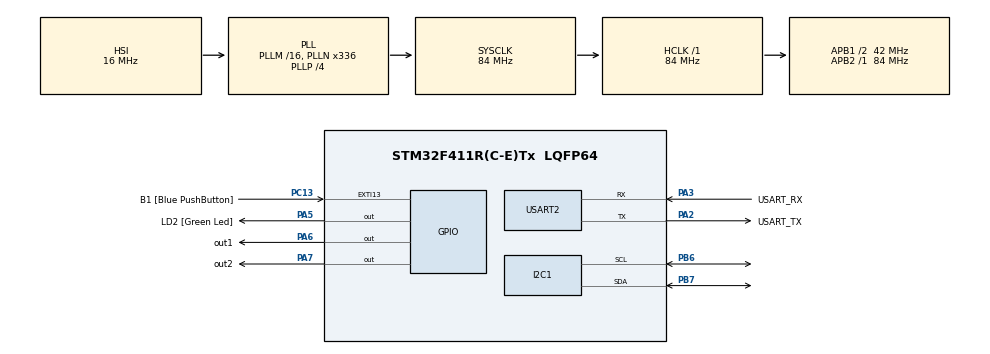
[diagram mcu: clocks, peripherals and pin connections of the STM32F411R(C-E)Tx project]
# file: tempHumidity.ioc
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Mcu.Family=STM32F4
Mcu.Name=STM32F411R(C-E)Tx
Mcu.Package=LQFP64
NVIC.PriorityGroup=NVIC_PRIORITYGROUP_0
PA13.GPIO_Label=TMS
PA13.Mode=Serial_Wire
PA13.Signal=SYS_JTMS-SWDIO
PA14.GPIO_Label=TCK
PA14.Mode=Serial_Wire
PA14.Signal=SYS_JTCK-SWCLK
PA2.GPIO_Label=USART_TX
PA2.Mode=Asynchronous
PA2.Signal=USART2_TX
PA3.GPIO_Label=USART_RX
PA3.Mode=Asynchronous
PA3.Signal=USART2_RX
PA5.GPIO_Label=LD2 [Green Led]
PA5.Signal=GPIO_Output
PA6.GPIO_Label=out1
PA6.Signal=GPIO_Output
PA7.GPIO_Label=out2
PA7.Signal=GPIO_Output
PB3.GPIO_Label=SWO
PB3.Signal=SYS_JTDO-SWO
PB6.Mode=I2C
PB6.Signal=I2C1_SCL
PB7.Mode=I2C
PB7.Signal=I2C1_SDA
PC13-ANTI_TAMP.GPIO_Label=B1 [Blue PushButton]
PC13-ANTI_TAMP.GPIO_ModeDefaultEXTI=GPIO_MODE_IT_FALLING
PC13-ANTI_TAMP.Signal=GPXTI13
PC14-OSC32_IN.Mode=LSE-External-Oscillator
PC14-OSC32_IN.Signal=RCC_OSC32_IN
PC15-OSC32_OUT.Mode=LSE-External-Oscillator
PC15-OSC32_OUT.Signal=RCC_OSC32_OUT
PH0\ -\ OSC_IN.Mode=HSE-External-Clock-Source
PH0\ -\ OSC_IN.Signal=RCC_OSC_IN
PH1\ -\ OSC_OUT.Mode=HSE-External-Clock-Source
PH1\ -\ OSC_OUT.Signal=RCC_OSC_OUT
ProjectManager.HeapSize=0x200
ProjectManager.StackSize=0x400
ProjectManager.TargetToolchain=CMake
RCC.48MHZClocksFreq_Value=84000000
RCC.AHBFreq_Value=84000000
RCC.APB1CLKDivider=RCC_HCLK_DIV2
RCC.APB1Freq_Value=42000000
RCC.APB1TimFreq_Value=84000000
RCC.APB2Freq_Value=84000000
RCC.APB2TimFreq_Value=84000000
RCC.CortexFreq_Value=84000000
RCC.FLatency-AdvancedSettings=FLASH_LATENCY_2
RCC.HCLKFreq_Value=84000000
RCC.HSE_VALUE=8000000
RCC.HSI_VALUE=16000000
RCC.PLLN=336
RCC.PLLP=RCC_PLLP_DIV4
RCC.SYSCLKFreq_VALUE=84000000
RCC.SYSCLKSource=RCC_SYSCLKSOURCE_PLLCLK
RCC.VCOOutputFreq_Value=336000000
TIM2.Prescaler=83
USART2.VirtualMode=VM_ASYNC
VP_TIM2_VS_ClockSourceINT.Mode=Internal
VP_TIM5_VS_ClockSourceINT.Mode=Internal
board=NUCLEO-F411RE

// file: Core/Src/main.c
/* USER CODE BEGIN Header */
/**
  ******************************************************************************
  * @file           : main.c
  * @brief          : Main program body
  ******************************************************************************
  * @attention
  *
  * Copyright (c) 2024 STMicroelectronics.
  * All rights reserved.
  *
  * This software is licensed under terms that can be found in the LICENSE file
  * in the root directory of this software component.
  * If no LICENSE file comes with this software, it is provided AS-IS.
  *
  ******************************************************************************
  */
/* USER CODE END Header */
#include "main.h"

/* USER CODE BEGIN Includes */
#include <string.h>
#include <stdio.h>
#include "HTU21D.h"
#include "1602_LCD.h"
#include "peripherialFunctions.h"
/* USER CODE END Includes */

I2C_HandleTypeDef hi2c1;
UART_HandleTypeDef huart2;

TIM_HandleTypeDef htim2;
TIM_HandleTypeDef htim5;

void SystemClock_Config(void);
static void MX_GPIO_Init(void);
static void MX_I2C1_Init(void);
static void MX_USART2_UART_Init(void);
static void MX_TIM2_Init(void);
static void MX_TIM5_Init(void);
/* USER CODE BEGIN PFP */
void I2C_Scanner(void);

/* USER CODE END PFP */

int main(void)
{

  /* MCU Configuration--------------------------------------------------------*/

  /* Reset of all peripherals, Initializes the Flash interface and the Systick. */
  HAL_Init();

  /* Configure the system clock */
  SystemClock_Config();

  /* Initialize all configured peripherals */
  MX_GPIO_Init();
  MX_I2C1_Init();
  MX_USART2_UART_Init();
  MX_TIM2_Init();
  MX_TIM5_Init();
  /* USER CODE BEGIN 2 */

    HTU21D_init(&hi2c1);

    LCD_HandleTypeDef lcd_handle = {
      .RS_Port = Lcd_RegSel_GPIO_Port, .RS_Pin = Lcd_RegSel_Pin,
      .RW_Port = Lcd_ReadWrite_GPIO_Port, .RW_Pin = Lcd_ReadWrite_Pin,
      .Enable_Port = Lcd_Enable_GPIO_Port, .Enable_Pin = Lcd_Enable_Pin,
      .D4_Port = Lcd_D4_GPIO_Port, .D4_Pin = Lcd_D4_Pin,
      .D5_Port = Lcd_D5_GPIO_Port, .D5_Pin = Lcd_D5_Pin,
      .D6_Port = Lcd_D6_GPIO_Port, .D6_Pin = Lcd_D6_Pin,
      .D7_Port = Lcd_D7_GPIO_Port, .D7_Pin = Lcd_D7_Pin

    };

    // scanning to detect if sensor is found, and at what address.
    I2C_Scanner();
    HAL_Delay(5);
    init1602Lcd();

  /* USER CODE END 2 */

  /* Infinite loop */
  while (1)
  {

    /* USER CODE BEGIN 3 */

    // HAL_GPIO_WritePin(GPIOA,Lcd_ReadWrite_Pin | Lcd_Enable_Pin | Lcd_D4_Pin | Lcd_D5_Pin
    //                   | Lcd_D6_Pin | Lcd_D7_Pin ,GPIO_PIN_SET);
    HAL_GPIO_WritePin(GPIOA,LD2_Pin,GPIO_PIN_SET);
     // HAL_Delay(1000);
     HAL_Delay(500);
      read_temperature(&hi2c1,&huart2);
      //I2C_Scanner();
      //HAL_Delay(500);

      HAL_GPIO_WritePin(Lcd_Enable_GPIO_Port,Lcd_Enable_Pin,GPIO_PIN_SET);

      //Test_LCD_Initialization();

      //LCD_SendChar('0');

      //LCD_SendString("I love you Monica!");

      LCD_PrintTempHumidity();

      read_humidity(&hi2c1,&huart2);
      HAL_GPIO_WritePin(GPIOA,LD2_Pin,GPIO_PIN_RESET);
      //HAL_Delay(1000);
      HAL_Delay(500);

  }
  /* USER CODE END 3 */
}

void SystemClock_Config(void)
{
  RCC_OscInitTypeDef RCC_OscInitStruct = {0};
  RCC_ClkInitTypeDef RCC_ClkInitStruct = {0};

  /** Configure the main internal regulator output voltage
  */
  __HAL_RCC_PWR_CLK_ENABLE();
  __HAL_PWR_VOLTAGESCALING_CONFIG(PWR_REGULATOR_VOLTAGE_SCALE1);

  /** Initializes the RCC Oscillators according to the specified parameters
  * in the RCC_OscInitTypeDef structure.
  */
  RCC_OscInitStruct.OscillatorType = RCC_OSCILLATORTYPE_HSI;
  RCC_OscInitStruct.HSIState = RCC_HSI_ON;
  RCC_OscInitStruct.HSICalibrationValue = RCC_HSICALIBRATION_DEFAULT;
  RCC_OscInitStruct.PLL.PLLState = RCC_PLL_ON;
  RCC_OscInitStruct.PLL.PLLSource = RCC_PLLSOURCE_HSI;
  RCC_OscInitStruct.PLL.PLLM = 16;
  RCC_OscInitStruct.PLL.PLLN = 336;
  RCC_OscInitStruct.PLL.PLLP = RCC_PLLP_DIV4;
  RCC_OscInitStruct.PLL.PLLQ = 4;
  if (HAL_RCC_OscConfig(&RCC_OscInitStruct) != HAL_OK)
  {
    Error_Handler();
  }

  /** Initializes the CPU, AHB and APB buses clocks
  */
  RCC_ClkInitStruct.ClockType = RCC_CLOCKTYPE_HCLK|RCC_CLOCKTYPE_SYSCLK
                              |RCC_CLOCKTYPE_PCLK1|RCC_CLOCKTYPE_PCLK2;
  RCC_ClkInitStruct.SYSCLKSource = RCC_SYSCLKSOURCE_PLLCLK;
  RCC_ClkInitStruct.AHBCLKDivider = RCC_SYSCLK_DIV1;
  RCC_ClkInitStruct.APB1CLKDivider = RCC_HCLK_DIV2;
  RCC_ClkInitStruct.APB2CLKDivider = RCC_HCLK_DIV1;

  if (HAL_RCC_ClockConfig(&RCC_ClkInitStruct, FLASH_LATENCY_2) != HAL_OK)
  {
    Error_Handler();
  }
}

static void MX_I2C1_Init(void)
{

  hi2c1.Instance = I2C1;
  hi2c1.Init.ClockSpeed = 100000;
  hi2c1.Init.DutyCycle = I2C_DUTYCYCLE_2;
  hi2c1.Init.OwnAddress1 = 0;
  hi2c1.Init.AddressingMode = I2C_ADDRESSINGMODE_7BIT;
  hi2c1.Init.DualAddressMode = I2C_DUALADDRESS_DISABLE;
  hi2c1.Init.OwnAddress2 = 0;
  hi2c1.Init.GeneralCallMode = I2C_GENERALCALL_DISABLE;
  hi2c1.Init.NoStretchMode = I2C_NOSTRETCH_DISABLE;
  if (HAL_I2C_Init(&hi2c1) != HAL_OK)
  {
    Error_Handler();
  }

}

static void MX_TIM2_Init(void)
{

  TIM_ClockConfigTypeDef sClockSourceConfig = {0};
  TIM_MasterConfigTypeDef sMasterConfig = {0};

  htim2.Instance = TIM2;
  htim2.Init.Prescaler = 83;
  htim2.Init.CounterMode = TIM_COUNTERMODE_UP;
  htim2.Init.Period = 4294967295;
  htim2.Init.ClockDivision = TIM_CLOCKDIVISION_DIV1;
  htim2.Init.AutoReloadPreload = TIM_AUTORELOAD_PRELOAD_DISABLE;
  if (HAL_TIM_Base_Init(&htim2) != HAL_OK)
  {
    Error_Handler();
  }
  sClockSourceConfig.ClockSource = TIM_CLOCKSOURCE_INTERNAL;
  if (HAL_TIM_ConfigClockSource(&htim2, &sClockSourceConfig) != HAL_OK)
  {
    Error_Handler();
  }
  sMasterConfig.MasterOutputTrigger = TIM_TRGO_RESET;
  sMasterConfig.MasterSlaveMode = TIM_MASTERSLAVEMODE_DISABLE;
  if (HAL_TIMEx_MasterConfigSynchronization(&htim2, &sMasterConfig) != HAL_OK)
  {
    Error_Handler();
  }

}

static void MX_TIM5_Init(void)
{

  TIM_ClockConfigTypeDef sClockSourceConfig = {0};
  TIM_MasterConfigTypeDef sMasterConfig = {0};

  htim5.Instance = TIM5;
  htim5.Init.Prescaler = 0;
  htim5.Init.CounterMode = TIM_COUNTERMODE_UP;
  htim5.Init.Period = 4294967295;
  htim5.Init.ClockDivision = TIM_CLOCKDIVISION_DIV1;
  htim5.Init.AutoReloadPreload = TIM_AUTORELOAD_PRELOAD_DISABLE;
  if (HAL_TIM_Base_Init(&htim5) != HAL_OK)
  {
    Error_Handler();
  }
  sClockSourceConfig.ClockSource = TIM_CLOCKSOURCE_INTERNAL;
  if (HAL_TIM_ConfigClockSource(&htim5, &sClockSourceConfig) != HAL_OK)
  {
    Error_Handler();
  }
  sMasterConfig.MasterOutputTrigger = TIM_TRGO_RESET;
  sMasterConfig.MasterSlaveMode = TIM_MASTERSLAVEMODE_DISABLE;
  if (HAL_TIMEx_MasterConfigSynchronization(&htim5, &sMasterConfig) != HAL_OK)
  {
    Error_Handler();
  }

}

static void MX_USART2_UART_Init(void)
{

  huart2.Instance = USART2;
  huart2.Init.BaudRate = 115200;
  huart2.Init.WordLength = UART_WORDLENGTH_8B;
  huart2.Init.StopBits = UART_STOPBITS_1;
  huart2.Init.Parity = UART_PARITY_NONE;
  huart2.Init.Mode = UART_MODE_TX_RX;
  huart2.Init.HwFlowCtl = UART_HWCONTROL_NONE;
  huart2.Init.OverSampling = UART_OVERSAMPLING_16;
  if (HAL_UART_Init(&huart2) != HAL_OK)
  {
    Error_Handler();
  }

}

static void MX_GPIO_Init(void)
{
  GPIO_InitTypeDef GPIO_InitStruct = {0};

  /* GPIO Ports Clock Enable */
  __HAL_RCC_GPIOC_CLK_ENABLE();
  __HAL_RCC_GPIOH_CLK_ENABLE();
  __HAL_RCC_GPIOA_CLK_ENABLE();
  __HAL_RCC_GPIOB_CLK_ENABLE();

  /*Configure GPIO pin Output Level */
  HAL_GPIO_WritePin(GPIOA, LD2_Pin|out1_Pin|out2_Pin, GPIO_PIN_RESET);

  /*Configure GPIO pin : B1_Pin */
  GPIO_InitStruct.Pin = B1_Pin;
  GPIO_InitStruct.Mode = GPIO_MODE_IT_FALLING;
  GPIO_InitStruct.Pull = GPIO_NOPULL;
  HAL_GPIO_Init(B1_GPIO_Port, &GPIO_InitStruct);

  /*Configure GPIO pins : LD2_Pin out1_Pin out2_Pin */
  GPIO_InitStruct.Pin = LD2_Pin|out1_Pin|out2_Pin;
  GPIO_InitStruct.Mode = GPIO_MODE_OUTPUT_PP;
  GPIO_InitStruct.Pull = GPIO_NOPULL;
  GPIO_InitStruct.Speed = GPIO_SPEED_FREQ_LOW;
  HAL_GPIO_Init(GPIOA, &GPIO_InitStruct);

/* USER CODE BEGIN MX_GPIO_Init_2 */

//init's I2C1 one pins which are GPIOB, PIN8/9 on the board
GPIO_InitStruct.Pin = GPIO_PIN_8 | GPIO_PIN_9;
GPIO_InitStruct.Mode = GPIO_MODE_AF_OD;
GPIO_InitStruct.Pull = GPIO_PULLUP;
GPIO_InitStruct.Speed = GPIO_SPEED_FREQ_HIGH;
GPIO_InitStruct.Alternate = GPIO_AF4_I2C1;
HAL_GPIO_Init(GPIOB,&GPIO_InitStruct);

//** setting up all data pins for lcd as outputs**/
// GPIO_InitStruct.Pin = Lcd_D4_Pin | Lcd_D5_Pin;
// GPIO_InitStruct.Mode = GPIO_MODE_OUTPUT_PP;
// GPIO_InitStruct.Pull = GPIO_NOPULL;
// GPIO_InitStruct.Speed = GPIO_SPEED_FREQ_HIGH;
// HAL_GPIO_Init(GPIOC, &GPIO_InitStruct);

// GPIO_InitStruct.Pin = Lcd_D6_Pin | Lcd_D7_Pin;
// GPIO_InitStruct.Mode = GPIO_MODE_OUTPUT_PP;
// GPIO_InitStruct.Pull = GPIO_NOPULL;
// GPIO_InitStruct.Speed = GPIO_SPEED_FREQ_HIGH;
// HAL_GPIO_Init(GPIOH, &GPIO_InitStruct);

// turing off all gpio's at init for good practice
 HAL_GPIO_WritePin(GPIOA,Lcd_ReadWrite_Pin | Lcd_Enable_Pin | Lcd_RegSel_Pin |Lcd_D7_Pin
| Lcd_D6_Pin | Lcd_D5_Pin | Lcd_D4_Pin, GPIO_PIN_RESET);
GPIO_InitStruct.Pin = Lcd_ReadWrite_Pin | Lcd_Enable_Pin | Lcd_RegSel_Pin |Lcd_D7_Pin
| Lcd_D6_Pin | Lcd_D5_Pin | Lcd_D4_Pin ;
GPIO_InitStruct.Mode = GPIO_MODE_OUTPUT_PP;
GPIO_InitStruct.Pull = GPIO_NOPULL;
GPIO_InitStruct.Speed = GPIO_SPEED_FREQ_HIGH;
HAL_GPIO_Init(GPIOA, &GPIO_InitStruct);

/* USER CODE END MX_GPIO_Init_2 */
}

void Error_Handler(void)
{
  __disable_irq();
  while (1)
  {
  }
}
